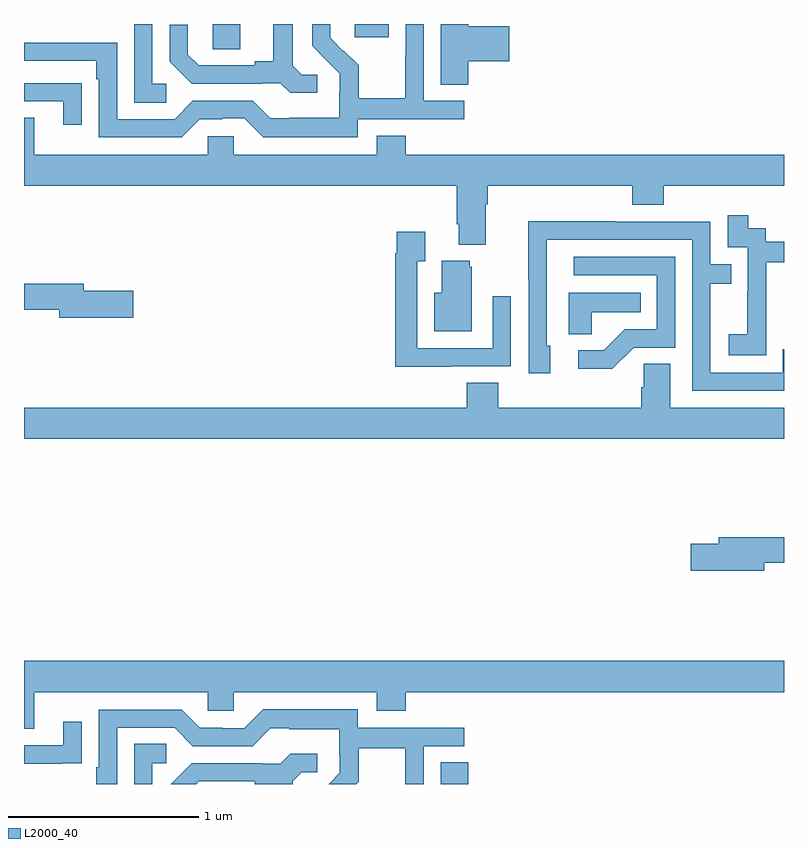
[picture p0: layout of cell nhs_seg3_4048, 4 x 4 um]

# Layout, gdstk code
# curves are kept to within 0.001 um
import gdstk
lib = gdstk.Library(unit=1e-6, precision=1e-09)
def R(c, l, rs):  # rectangles x0, y0, x1, y1
    for r in rs: c.add(gdstk.rectangle(r[:2], r[2:], *l))
def P(c, l, *ps):  # polygons
    for p in ps: c.add(gdstk.Polygon(p, *l))
L2000_40 = (2000, 40)

nhs_seg3_4048 = lib.new_cell('nhs_seg3_4048')
R(nhs_seg3_4048, L2000_40, [(325.193,732.4,325.337,732.515), (323.994,736.267,324.139,736.4), (324.74,736.329,324.919,736.4)])
P(nhs_seg3_4048, L2000_40, [(324.756,735.9),(325.318,735.9),(325.318,735.996),(325.104,735.996),(325.104,736.4),(325.008,736.4),(325.008,736.232),(325.006,736.232),(325.006,736.009),(324.761,736.009),(324.761,736.183),(324.684,736.26),(324.681,736.257),(324.611,736.328),(324.611,736.4),(324.516,736.4),(324.516,736.286),(324.662,736.138),(324.662,736.041),(324.66,736.041),(324.66,735.907),(324.397,735.907),(324.397,735.903),(324.297,735.903),(324.204,735.996),(323.889,735.996),(323.793,735.9),(323.49,735.9),(323.49,736.302),(323,736.302),(323,736.206),(323.381,736.206),(323.381,736.109),(323.394,736.109),(323.394,735.804),(323.829,735.804),(323.925,735.9),(324.044,735.9),(324.044,735.903),(324.159,735.903),(324.259,735.803),(324.756,735.803)],
  [(325.337,736.205),(325.555,736.205),(325.555,736.388),(325.337,736.388),(325.337,736.4),(325.193,736.4),(325.193,736.081),(325.337,736.081)],
  [(323.749,736.086),(323.676,736.086),(323.676,736.4),(323.58,736.4),(323.58,735.985),(323.749,735.985)],
  [(324.544,736.134),(324.462,736.134),(324.415,736.181),(324.415,736.4),(324.311,736.4),(324.311,736.205),(324.215,736.205),(324.215,736.182),(323.92,736.182),(323.863,736.239),(323.863,736.396),(323.766,736.396),(323.766,736.202),(323.882,736.086),(324.254,736.086),(324.254,736.089),(324.348,736.089),(324.4,736.037),(324.544,736.037)],
  [(323.303,736.088),(323.201,736.088),(323.201,736.089),(323,736.089),(323,735.993),(323.207,735.993),(323.207,735.87),(323.303,735.87)],
  [(325.429,735.452),(325.442,735.452),(325.442,735.548),(326.201,735.548),(326.201,735.449),(326.366,735.449),(326.366,735.548),(327,735.548),(327,735.712),(325.01,735.712),(325.01,735.811),(324.857,735.811),(324.857,735.712),(324.105,735.712),(324.105,735.81),(323.967,735.81),(323.967,735.712),(323.053,735.712),(323.053,735.907),(323,735.907),(323,735.548),(325.277,735.548),(325.277,735.346),(325.289,735.346),(325.289,735.239),(325.429,735.239)],
  [(326.907,734.863),(326.906,734.863),(326.906,735.147),(327,735.147),(327,735.255),(326.904,735.255),(326.904,735.324),(326.812,735.324),(326.812,735.394),(326.703,735.394),(326.703,735.225),(326.808,735.225),(326.808,734.996),(326.807,734.996),(326.807,734.767),(326.709,734.767),(326.709,734.657),(326.907,734.657)],
  [(327,734.688),(326.994,734.688),(326.994,734.565),(326.613,734.565),(326.613,735.034),(326.723,735.034),(326.723,735.135),(326.613,735.135),(326.613,735.36),(326.117,735.36),(326.117,735.362),(325.654,735.362),(325.654,735.055),(325.656,735.055),(325.656,734.562),(325.771,734.562),(325.771,734.706),(325.752,734.706),(325.752,735.264),(326.517,735.264),(326.517,734.469),(327,734.469)],
  [(325.247,734.598),(325.563,734.598),(325.563,734.968),(325.467,734.968),(325.467,734.694),(325.071,734.694),(325.071,735.151),(325.111,735.151),(325.111,735.307),(324.963,735.307),(324.963,735.194),(324.955,735.194),(324.955,734.597),(325.247,734.597)],
  [(326.208,734.697),(326.427,734.697),(326.427,735.174),(325.893,735.174),(325.893,735.078),(326.331,735.078),(326.331,734.793),(326.162,734.793),(326.051,734.682),(325.917,734.682),(325.917,734.585),(326.095,734.585)],
  [(325.357,735.123),(325.346,735.123),(325.346,735.154),(325.199,735.154),(325.199,734.986),(325.16,734.986),(325.16,734.783),(325.357,734.783)],
  [(323.575,734.996),(323.314,734.996),(323.314,735.032),(323,735.032),(323,734.896),(323.186,734.896),(323.186,734.854),(323.575,734.854)],
  [(325.989,734.882),(326.246,734.882),(326.246,734.986),(325.868,734.986),(325.868,734.767),(325.989,734.767)],
  [(327,734.38),(326.401,734.38),(326.401,734.612),(326.262,734.612),(326.262,734.489),(326.249,734.489),(326.249,734.38),(325.496,734.38),(325.496,734.513),(325.331,734.513),(325.331,734.38),(323,734.38),(323,734.216),(327,734.216)],
  [(326.896,733.564),(327,733.564),(327,733.7),(326.657,733.7),(326.657,733.664),(326.508,733.664),(326.508,733.522),(326.896,733.522)],
  [(323.053,732.884),(323.967,732.884),(323.967,732.786),(324.105,732.786),(324.105,732.884),(324.857,732.884),(324.857,732.785),(325.01,732.785),(325.01,732.884),(327,732.884),(327,733.048),(323,733.048),(323,732.69),(323.053,732.69)],
  [(323.49,732.696),(323.793,732.696),(323.889,732.6),(324.204,732.6),(324.297,732.693),(324.397,732.693),(324.397,732.689),(324.66,732.689),(324.66,732.555),(324.662,732.555),(324.662,732.458),(324.604,732.4),(324.748,732.4),(324.761,732.413),(324.761,732.588),(325.006,732.588),(325.006,732.4),(325.104,732.4),(325.104,732.6),(325.318,732.6),(325.318,732.696),(324.756,732.696),(324.756,732.793),(324.259,732.793),(324.159,732.693),(324.044,732.693),(324.044,732.696),(323.925,732.696),(323.829,732.792),(323.394,732.792),(323.394,732.487),(323.381,732.487),(323.381,732.4),(323.49,732.4)],
  [(323.201,732.508),(323.303,732.508),(323.303,732.727),(323.207,732.727),(323.207,732.603),(323,732.603),(323,732.507),(323.201,732.507)],
  [(323.676,732.51),(323.749,732.51),(323.749,732.611),(323.58,732.611),(323.58,732.4),(323.676,732.4)],
  [(323.92,732.414),(324.215,732.414),(324.215,732.4),(324.415,732.4),(324.415,732.415),(324.462,732.462),(324.544,732.462),(324.544,732.559),(324.4,732.559),(324.348,732.507),(324.254,732.507),(324.254,732.51),(323.882,732.51),(323.772,732.4),(323.906,732.4)])

lib.write_gds('nhs_seg3_4048.gds')
